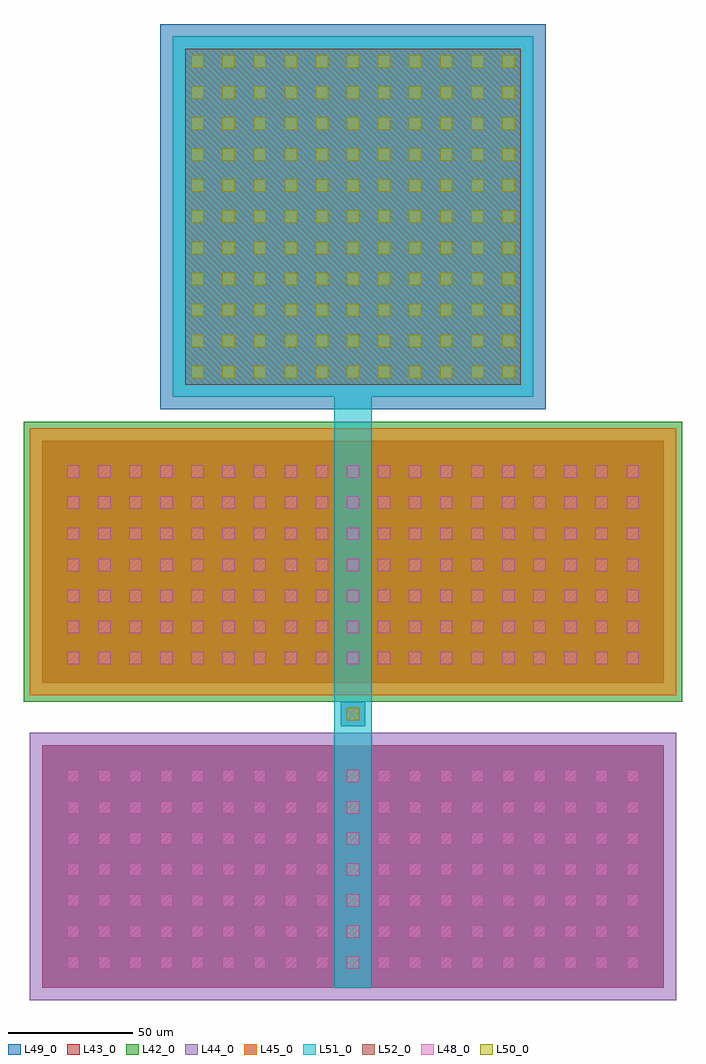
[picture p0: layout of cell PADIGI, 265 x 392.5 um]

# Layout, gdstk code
import gdstk
lib = gdstk.Library(unit=1e-6, precision=1e-09)
def R(c, l, rs):  # rectangles x0, y0, x1, y1
    for r in rs: c.add(gdstk.rectangle(r[:2], r[2:], *l))
def A(c, l, x, y, w, h, nx, ny, dx, dy):  # array of equal rectangles
    R(c, l, [(x+i*dx, y+j*dy, x+i*dx+w, y+j*dy+h) for i in range(nx) for j in range(ny)])
L42_0 = (42, 0)
L43_0 = (43, 0)
L44_0 = (44, 0)
L45_0 = (45, 0)
L48_0 = (48, 0)
L49_0 = (49, 0)
L50_0 = (50, 0)
L51_0 = (51, 0)
L52_0 = (52, 0)

padigi = lib.new_cell('PADIGI')
R(padigi, L42_0, [(0,120,265,232.5)])
R(padigi, L43_0, [(7.5,5,257.5,102.5), (7.5,127.5,257.5,225)])
R(padigi, L44_0, [(2.5,0,262.5,107.5)])
R(padigi, L45_0, [(2.5,122.5,262.5,230)])
A(padigi, L48_0, 17.5, 12.5, 5, 5, 19, 7, 12.5, 12.5)
A(padigi, L48_0, 17.5, 135, 5, 5, 19, 7, 12.5, 12.5)
R(padigi, L49_0, [(7.5,5,257.5,102.5), (127.5,110,137.5,120), (7.5,127.5,257.5,225), (55,237.5,210,392.5)])
A(padigi, L50_0, 67.5, 250, 5, 5, 11, 11, 12.5, 12.5)
R(padigi, L50_0, [(130,112.5,135,117.5)])
R(padigi, L51_0, [(125,5,140,225), (125,225,140,242.5), (60,242.5,205,387.5)])
R(padigi, L52_0, [(65,247.5,200,382.5)])

lib.write_gds('PADIGI.gds')
